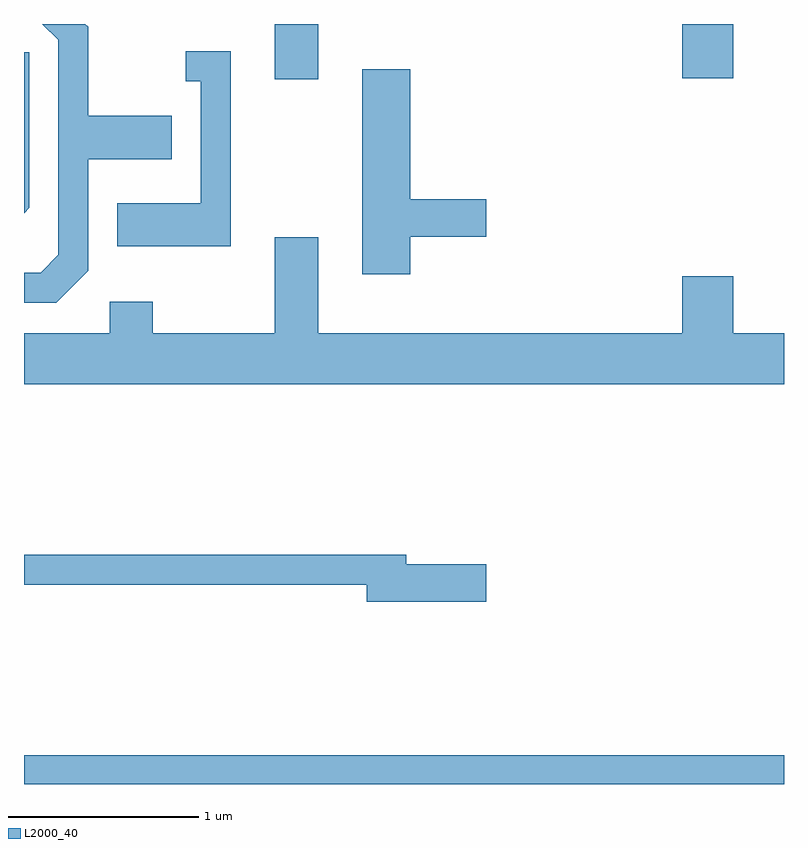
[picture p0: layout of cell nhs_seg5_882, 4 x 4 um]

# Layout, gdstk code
import gdstk
lib = gdstk.Library(unit=1e-6, precision=1e-09)
def R(c, l, rs):  # rectangles x0, y0, x1, y1
    for r in rs: c.add(gdstk.rectangle(r[:2], r[2:], *l))
def P(c, l, *ps):  # polygons
    for p in ps: c.add(gdstk.Polygon(p, *l))
L2000_40 = (2000, 40)

nhs_seg5_882 = lib.new_cell('nhs_seg5_882')
R(nhs_seg5_882, L2000_40, [(211.611,1408.072,215.611,1408.224), (212.931,1411.781,213.159,1412.072), (215.076,1411.786,215.344,1412.072)])
P(nhs_seg5_882, L2000_40, [(211.949,1410.774),(211.949,1411.361),(212.389,1411.361),(212.389,1411.589),(211.949,1411.589),(211.949,1412.057),(211.934,1412.072),(211.708,1412.072),(211.791,1411.989),(211.791,1410.857),(211.699,1410.764),(211.611,1410.764),(211.611,1410.606),(211.782,1410.606)],
  [(212.699,1411.929),(212.463,1411.929),(212.463,1411.771),(212.541,1411.771),(212.541,1411.129),(212.101,1411.129),(212.101,1410.901),(212.699,1410.901)],
  [(211.639,1411.104),(211.639,1411.924),(211.611,1411.924),(211.611,1411.076)],
  [(213.644,1410.951),(214.044,1410.951),(214.044,1411.149),(213.644,1411.149),(213.644,1411.834),(213.391,1411.834),(213.391,1410.756),(213.644,1410.756)],
  [(215.611,1410.444),(215.344,1410.444),(215.344,1410.744),(215.076,1410.744),(215.076,1410.444),(213.159,1410.444),(213.159,1410.949),(212.931,1410.949),(212.931,1410.444),(212.289,1410.444),(212.289,1410.609),(212.061,1410.609),(212.061,1410.444),(211.611,1410.444),(211.611,1410.176),(215.611,1410.176)],
  [(214.044,1409.229),(213.624,1409.229),(213.624,1409.279),(211.611,1409.279),(211.611,1409.121),(213.416,1409.121),(213.416,1409.031),(214.044,1409.031)])

lib.write_gds('nhs_seg5_882.gds')
